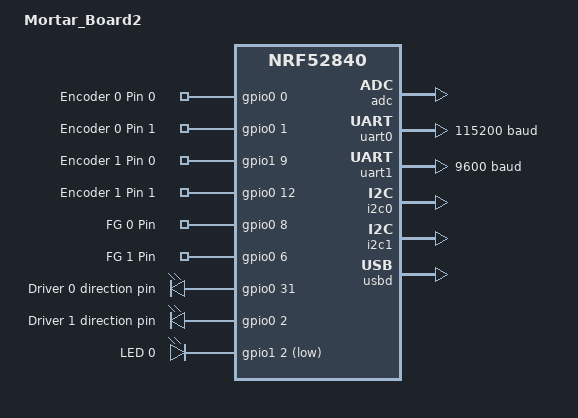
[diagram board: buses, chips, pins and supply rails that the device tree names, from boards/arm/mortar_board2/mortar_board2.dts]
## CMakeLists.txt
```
# SPDX-License-Identifier: Apache-2.0
# Copyright (c) 2022 Adrian Przekwas <adrian.v.przekwas@gmail.com>

cmake_minimum_required(VERSION 3.13.1)
find_package(Zephyr REQUIRED HINTS $ENV{ZEPHYR_BASE})
project(bldcmortar-drive)

target_sources(app PRIVATE
  src/main.c
  src/ble_comm.c
  src/usb_comm.c
  src/bldc_driver.c
  src/encoder_reader.c
  src/command_decoder.c
  src/settings.c
  src/gps.c
)
```

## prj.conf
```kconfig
CONFIG_GPIO=y

# Enable the I2C driver
CONFIG_I2C=y

# Incresed stack due to settings API usage
CONFIG_SYSTEM_WORKQUEUE_STACK_SIZE=2048

# Avoid BT RX stack overflow
CONFIG_BT_RX_STACK_SIZE=2048

# Maximum of queued outgoing packets
CONFIG_BT_BUF_ACL_TX_COUNT=7

CONFIG_BT=y
CONFIG_BT_DEBUG_LOG=y
# Security manager protocol support for pairing
CONFIG_BT_SMP=y
# used to sign authenticated data
CONFIG_BT_SIGNING=y
# select peripheral role
CONFIG_BT_PERIPHERAL=y
# enable GATT device information service
CONFIG_BT_DIS=n
# number of buffers available for GATT writing
CONFIG_BT_ATT_PREPARE_COUNT=5
# enables local privacy feature support ?
CONFIG_BT_PRIVACY=y
# name that appears when browsing
CONFIG_BT_DEVICE_NAME="Mortar drive"
# https://specificationrefs.bluetooth.com/assigned-values/Appearance%20Values.pdf
# 0x4c0 = generic control device = 1216
CONFIG_BT_DEVICE_APPEARANCE=1216
# disable updating of device name to prevent use of generic name
# enable run-time changing of device name
CONFIG_BT_DEVICE_NAME_DYNAMIC=y
CONFIG_BT_DEVICE_NAME_MAX=65

# n: allow sending notification messages without having notifications enabled
CONFIG_BT_GATT_ENFORCE_SUBSCRIPTION=n  #TODO fix on server side

# When 32k XTAL is unavailable
CONFIG_CLOCK_CONTROL_NRF_K32SRC_RC=y
CONFIG_CLOCK_CONTROL_NRF_K32SRC_XTAL=n
CONFIG_CLOCK_CONTROL_NRF_K32SRC_250PPM=y

# USB CDC
# CONFIG_USB_DEVICE_STACK=y
# CONFIG_USB_DEVICE_PRODUCT="Mortar Drive"
# CONFIG_UART_LINE_CTRL=y

# enable console
CONFIG_CONSOLE=y
CONFIG_UART_CONSOLE=y

# NVS storage
CONFIG_FLASH=y
CONFIG_FLASH_PAGE_LAYOUT=y
CONFIG_FLASH_MAP=y
CONFIG_NVS=y

# GPS UART
CONFIG_UART_INTERRUPT_DRIVEN=y
```

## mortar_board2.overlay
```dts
// To get started, press Ctrl+Space to bring up the completion menu and view the available nodes.

// You can also use the buttons in the sidebar to perform actions on nodes.
// Actions currently available include:

// * Enabling / disabling the node
// * Adding the bus to a bus
// * Removing the node
// * Connecting ADC channels

// For more help, browse the DeviceTree documentation at https://docs.zephyrproject.org/latest/guides/dts/index.html
// You can also visit the nRF DeviceTree extension documentation at https://nrfconnect.github.io/vscode-nrf-connect/devicetree/nrfdevicetree.html

//Remove block comment below to use USB for UART instead of GPIO pin
/*
/{
	chosen {
		zephyr,console = &cdc_acm_uart0;
	};
};

&zephyr_udc0 {
	cdc_acm_uart0: cdc_acm_uart0 {
		compatible = "zephyr,cdc-acm-uart";
		label = "CDC_ACM_0";
	};
};
*/
```

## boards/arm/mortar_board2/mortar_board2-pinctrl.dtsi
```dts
&pinctrl {
	uart0_default: uart0_default {
		group1 {
			psels = <NRF_PSEL(UART_TX, 1, 4)>;
		};
	};

	uart0_sleep: uart0_sleep {
		group1 {
			psels = <NRF_PSEL(UART_TX, 1, 4)>;
            low-power-enable;
		};
	};

	uart1_default: uart1_default {
        group1 {
            psels = <NRF_PSEL(UART_TX, 0, 24)>;
        };
        group2 {
            psels = <NRF_PSEL(UART_RX, 1, 0)>;
            bias-pull-up;
        };
	};

	uart1_sleep: uart1_sleep {
        group1 {
            psels = <NRF_PSEL(UART_TX, 0, 24)>,
            <NRF_PSEL(UART_RX, 1, 0)>;
            low-power-enable;
        };
	};

	i2c0_default: i2c0_default {
		group1 {
			psels = <NRF_PSEL(TWIM_SDA, 0, 20)>,
				<NRF_PSEL(TWIM_SCL, 0, 22)>;
		};
	};

	i2c0_sleep: i2c0_sleep {
		group1 {
			psels = <NRF_PSEL(TWIM_SDA, 0, 20)>,
				<NRF_PSEL(TWIM_SCL, 0, 22)>;
			low-power-enable;
		};
	};

	i2c1_default: i2c1_default {
		group1 {
			psels = <NRF_PSEL(TWIM_SDA, 0, 13)>,
				<NRF_PSEL(TWIM_SCL, 0, 15)>;
		};
	};

	i2c1_sleep: i2c1_sleep {
		group1 {
			psels = <NRF_PSEL(TWIM_SDA, 0, 13)>,
				<NRF_PSEL(TWIM_SCL, 0, 15)>;
			low-power-enable;
		};
	};
    spi0_default: spi0_default {
		group1 {
			psels = <NRF_PSEL(SPIM_SCK, 0, 27)>,
				<NRF_PSEL(SPIM_MOSI, 0, 26)>,
				<NRF_PSEL(SPIM_MISO, 0, 29)>;
		};
	};

	spi0_sleep: spi0_sleep {
		group1 {
			psels = <NRF_PSEL(SPIM_SCK, 0, 27)>,
				<NRF_PSEL(SPIM_MOSI, 0, 26)>,
				<NRF_PSEL(SPIM_MISO, 0, 29)>;
			low-power-enable;
		};
	};

	spi1_default: spi1_default {
		group1 {
			psels = <NRF_PSEL(SPIM_SCK, 0, 31)>,
				<NRF_PSEL(SPIM_MOSI, 0, 30)>,
				<NRF_PSEL(SPIM_MISO, 1, 8)>;
		};
	};

	spi1_sleep: spi1_sleep {
		group1 {
			psels = <NRF_PSEL(SPIM_SCK, 0, 31)>,
				<NRF_PSEL(SPIM_MOSI, 0, 30)>,
				<NRF_PSEL(SPIM_MISO, 1, 8)>;
			low-power-enable;
		};
	};

	spi2_default: spi2_default {
		group1 {
			psels = <NRF_PSEL(SPIM_SCK, 0, 19)>,
				<NRF_PSEL(SPIM_MOSI, 0, 20)>,
				<NRF_PSEL(SPIM_MISO, 0, 21)>;
		};
	};

	spi2_sleep: spi2_sleep {
		group1 {
			psels = <NRF_PSEL(SPIM_SCK, 0, 19)>,
				<NRF_PSEL(SPIM_MOSI, 0, 20)>,
				<NRF_PSEL(SPIM_MISO, 0, 21)>;
			low-power-enable;
		};
	};

};
```

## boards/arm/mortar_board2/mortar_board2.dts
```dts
// Copyright (c) 2022 Nordic Semiconductor ASA
// SPDX-License-Identifier: Apache-2.0

/dts-v1/;
#include <nordic/nrf52840_qiaa.dtsi>
#include "mortar_board2-pinctrl.dtsi"

/ {
	model = "Mortar_Board2";
	compatible = "nordic,mortar_board2";

	chosen {
		zephyr,console = &uart0;
		zephyr,shell-uart = &uart0;
		zephyr,uart-mcumgr = &uart0;
		zephyr,bt-mon-uart = &uart0;
		zephyr,bt-c2h-uart = &uart0;
		zephyr,sram = &sram0;
		zephyr,flash = &flash0;
		zephyr,code-partition = &slot0_partition;
	};
	drvinp {
		compatible = "gpio-keys";
		enc0p0: enc0pin0{
			gpios = <&gpio0 0 (GPIO_ACTIVE_HIGH)>;
			label = "Encoder 0 Pin 0";
		};
		enc0p1: enc0pin1{
			gpios = <&gpio0 1 (GPIO_ACTIVE_HIGH)>;
			label = "Encoder 0 Pin 1";
		};
		enc1p0: enc1pin0{
			gpios = <&gpio1 9 (GPIO_ACTIVE_HIGH)>;
			label = "Encoder 1 Pin 0";
		};
		enc1p1: enc1pin1{
			gpios = <&gpio0 12 (GPIO_ACTIVE_HIGH)>;
			label = "Encoder 1 Pin 1";
		};
		fg0p: fg0pin{
			gpios = <&gpio0 8 (GPIO_ACTIVE_HIGH | GPIO_PULL_UP)>; //DRV FG pin is open drain
			label = "FG 0 Pin";
		};
		fg1p: fg1pin{
			gpios = <&gpio0 6 (GPIO_ACTIVE_HIGH | GPIO_PULL_UP)>;
			label = "FG 1 Pin";
		};
	};

	drvout{
		compatible = "gpio-leds";
		dir0: dir_0{
			gpios = <&gpio0 31 GPIO_ACTIVE_HIGH>;
			label = "Driver 0 direction pin";
		};
		dir1: dir_1{
			gpios = <&gpio0 2 GPIO_ACTIVE_HIGH>;
			label = "Driver 1 direction pin";
		};

	};
	leds {
		compatible = "gpio-leds";
		led0: led_0 {
			gpios = <&gpio1 2 GPIO_ACTIVE_LOW>;
			label = "LED 0";
		};
	};
	aliases {
		dir0 = &dir0;
		dir1 = &dir1;
		enc0p0 = &enc0p0;
		enc0p1 = &enc0p1;
		enc1p0 = &enc1p0;
		enc1p1 = &enc1p1;
		fg0p = &fg0p;
		fg1p = &fg1p;
		led0 = &led0;
	};
};

&flash0 {
	partitions {
		compatible = "fixed-partitions";
		#address-cells = <1>;
		#size-cells = <1>;

		boot_partition: partition@0 {
			label = "mcuboot";
			reg = <0x0 0xc000>;
		};
		slot0_partition: partition@c000 {
			label = "image-0";
			reg = <0xc000 0x72000>;
		};
		slot1_partition: partition@7e000 {
			label = "image-1";
			reg = <0x7e000 0x72000>;
		};
		scratch_partition: partition@f0000 {
			label = "image-scratch";
			reg = <0xf0000 0xa000>;
		};
		storage_partition: partition@fa000 {
			label = "storage";
			reg = <0xfa000 0x6000>;
		};
	};
};

&adc {
	status = "okay";
};

&gpiote {
	status = "okay";
};

&gpio0 {
	status = "okay";
};

&gpio1 {
	status = "okay";
};

&uart0 {
	compatible = "nordic,nrf-uarte";
	status = "okay";
	current-speed = <115200>;
	pinctrl-0 = <&uart0_default>;
	pinctrl-1 = <&uart0_sleep>;
	pinctrl-names = "default", "sleep";

};

&uart1 {
	status = "okay";
	current-speed = <9600>;
	pinctrl-0 = <&uart1_default>;
	pinctrl-1 = <&uart1_sleep>;
	pinctrl-names = "default", "sleep";
};

&i2c0 {
	compatible = "nordic,nrf-twi";
	status = "okay";
	pinctrl-0 = <&i2c0_default>;
	pinctrl-1 = <&i2c0_sleep>;
	pinctrl-names = "default", "sleep";
};

&i2c1 {
	compatible = "nordic,nrf-twi";
	status = "okay";
	pinctrl-0 = <&i2c1_default>;
	pinctrl-1 = <&i2c1_sleep>;
	pinctrl-names = "default", "sleep";
};
&spi0 {
	compatible = "nordic,nrf-spi";
	/* Cannot be used together with i2c0. */
	status = "disabled";
	pinctrl-0 = <&spi0_default>;
	pinctrl-1 = <&spi0_sleep>;
	pinctrl-names = "default", "sleep";
};

&spi1 {
	compatible = "nordic,nrf-spi";
	status = "disabled";
	pinctrl-0 = <&spi1_default>;
	pinctrl-1 = <&spi1_sleep>;
	pinctrl-names = "default", "sleep";
};

&spi2 {
	compatible = "nordic,nrf-spi";
	status = "disabled";
	pinctrl-0 = <&spi2_default>;
	pinctrl-1 = <&spi2_sleep>;
	pinctrl-names = "default", "sleep";
};

zephyr_udc0: &usbd {
	compatible = "nordic,nrf-usbd";
	status = "okay";
};
```

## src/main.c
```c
/* SPDX-License-Identifier: Apache-2.0                              *
 * Copyright (c) 2022 Adrian Przekwas <adrian.v.przekwas@gmail.com> */

#include <zephyr/types.h>
#include <stddef.h>
#include <string.h>
#include <errno.h>
#include <zephyr/sys/printk.h>
#include <zephyr/sys/byteorder.h>
#include <zephyr/kernel.h>

#include <zephyr/settings/settings.h>

#include "ble_comm.h"
#include "encoder_reader.h"
#include "bldc_driver.h"
#include "usb_comm.h"
#include "command_decoder.h"
#include "settings.h"
#include "gps.h"

#define MAIN_SLEEP_TIME_MS  100
#define MSG_SLEEP_TIME_MS  20
#define LOOP_DIVIDER 100

void main(void)
{
	initialise_usb_cdc();
	initialise_ble();
	initialise_encoder();
	initialise_gpio();
	initialise_i2c();
	initialise_settings();
	initialise_gps();

	int64_t old_enc0_count = 0;
	int64_t enc0_count = 0;
	int64_t old_enc1_count = 0;
	int64_t enc1_count = 0;
	int64_t old_fg0_count = 0;
	int64_t fg0_count = 0;
	int64_t old_fg1_count = 0;
	int64_t fg1_count = 0;

	extern int driver_verbosity;

	int cnt = 0;

	/*load regs from flash*/
	for (int id = 0; id < 2; ++id)
	{
		read_drive_settings(id, 1);
	}
	while (1) 
	{
		k_msleep(MAIN_SLEEP_TIME_MS);
		int msg_count;
		msg_count = send_command_ble_data();
		while (msg_count > 0)
		{
			k_msleep(MSG_SLEEP_TIME_MS);
			msg_count = send_command_ble_data(); //send command waiting in queue
		}
		get_enc0_val(&enc0_count);
		get_enc1_val(&enc1_count);
		get_fg0_val(&fg0_count);
		get_fg1_val(&fg1_count);
		for (int id = 0; id < 2; ++id)
		{
			probe_motor_lock(id);
		}

		if (enc0_count != old_enc0_count)
		{
			if (driver_verbosity > 2) {printk("Encoder 0 steps count  %" PRId64 "\n", enc0_count);}
			set_enc0_val(&enc0_count); //read encoder value and send to ble
			send_enc0_ble_data(); //send notification
		}
		old_enc0_count = enc0_count;

		if (enc1_count != old_enc1_count)
		{
			if (driver_verbosity > 2) {printk("Encoder 1 steps count  %" PRId64 "\n", enc1_count);}
			set_enc1_val(&enc1_count);
			send_enc1_ble_data(); //send notification
		}
		old_enc1_count = enc1_count;

		if (fg0_count != old_fg0_count)
		{
			if (driver_verbosity > 2) {printk("FG0 count  %" PRId64 "\n", fg0_count);}
			encode_fg_value(fg0_count, 0);
		}
		old_fg0_count = fg0_count;

		if (fg1_count != old_fg1_count)
		{
			if (driver_verbosity > 2) {printk("FG1 count  %" PRId64 "\n", fg1_count);}
			encode_fg_value(fg1_count, 1);
		}
		old_fg1_count = fg1_count;

		cnt++;
		if (cnt > LOOP_DIVIDER)
		{
			send_date_time();
			send_position();
			for (int id = 0; id < 2; ++id)
			{
				check_status_reg(id);
				uint8_t speed1 = 0;
				uint8_t speed2 = 0;
				read_motor_speed(id, &speed1, &speed2);
				encode_motor_speed(speed1, speed2, id);

			}
			cnt = 0;
		}
	}	
}
```

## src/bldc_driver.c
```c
/* SPDX-License-Identifier: Apache-2.0                              *
 * Copyright (c) 2022 Adrian Przekwas <adrian.v.przekwas@gmail.com> */

#include <zephyr/kernel.h>
#include <zephyr/device.h>
#include <zephyr/devicetree.h>
#include <zephyr/drivers/gpio.h>

#include <zephyr/drivers/i2c.h>

#include <zephyr/sys/printk.h>

#include "bldc_driver.h"
#include "ble_comm.h"
#include "command_decoder.h"

#define I2C0_NODE DT_NODELABEL(i2c0)
#if DT_NODE_HAS_STATUS(I2C0_NODE, okay)
#define I2C0	DT_LABEL(I2C0_NODE)
#else
/* A build error here means your board does not have I2C enabled. */
#error "i2c0 devicetree node is disabled"
#define I2C0	""
#endif

#define I2C1_NODE DT_NODELABEL(i2c1)
#if DT_NODE_HAS_STATUS(I2C1_NODE, okay)
#define I2C1	DT_LABEL(I2C1_NODE)
#else
#error "i2c1 devicetree node is disabled"
#define I2C1	""
#endif

#define DIR0_NODE    DT_ALIAS(dir0)
#if DT_NODE_HAS_STATUS(DIR0_NODE, okay)
#define DIR0_GPIO_LABEL  DT_GPIO_LABEL(DIR0_NODE, gpios)
#define DIR0_GPIO_PIN    DT_GPIO_PIN(DIR0_NODE, gpios)
#define DIR0_GPIO_FLAGS  DT_GPIO_FLAGS(DIR0_NODE, gpios)
#else
#error "Unsupported board: dir0 devicetree alias is not defined"
#define DIR0_GPIO_LABEL  ""
#define DIR0_GPIO_PIN    0
#define DIR0_GPIO_FLAGS  0
#endif

#define DIR1_NODE    DT_ALIAS(dir1)
#if DT_NODE_HAS_STATUS(DIR1_NODE, okay)
#define DIR1_GPIO_LABEL  DT_GPIO_LABEL(DIR1_NODE, gpios)
#define DIR1_GPIO_PIN    DT_GPIO_PIN(DIR1_NODE, gpios)
#define DIR1_GPIO_FLAGS  DT_GPIO_FLAGS(DIR1_NODE, gpios)
#else
#error "Unsupported board: dir1 devicetree alias is not defined"
#define DIR1_GPIO_LABEL  ""
#define DIR1_GPIO_PIN    0
#define DIR1_GPIO_FLAGS  0
#endif

#define DRV10983_ADDRESS 0x52 //DRV 10983 adress
#define SPEEDCTRL1 0x00
#define SPEEDCTRL2 0x01
#define MOTORSPEED1 0x11
#define MOTORSPEED2 0x12
#define MOTORPARAM1 0x20
#define MOTORPARAM2 0x21
#define DEF_MPR 0x5D //motor phase resistance
#define DEF_BEMF 0x2E //BEMF constant

const struct device *dev_i2c0;
const struct device *dev_i2c1;

static const struct gpio_dt_spec dirpin0 = GPIO_DT_SPEC_GET(DIR0_NODE, gpios);
static const struct gpio_dt_spec dirpin1 = GPIO_DT_SPEC_GET(DIR1_NODE, gpios);

int driver_verbosity = 2;

int initialise_gpio(void)
{
	int ret;
	ret = gpio_pin_configure_dt(&dirpin0, GPIO_OUTPUT_ACTIVE);
	if (ret < 0) {
		return ret;
	}
	ret = gpio_pin_configure_dt(&dirpin1, GPIO_OUTPUT_ACTIVE);
	if (ret < 0) {
		return ret;
	}

	return 0;
	
}
int initialise_i2c(void)
{

	/* Get the binding of the I2C driver  */
	dev_i2c0 = DEVICE_DT_GET(I2C0_NODE);
	if (dev_i2c0 == NULL) {
	printk("Could not find  I2C0!\n\r");
	return -1;
	}

    dev_i2c1 = DEVICE_DT_GET(I2C1_NODE);
	if (dev_i2c1 == NULL) {
	printk("Could not find  I2C1!\n\r");
	return -1;
	}
	uint8_t speed_ctrl2 = 0x80; //bit [7]
	uint8_t speed_ctrl1 = 0x00;
	for (uint8_t id = 0; id < 2; ++id)
	{
		conf_reg_write_unlock(id);
		write_reg(MOTORPARAM1, DEF_MPR, id);
		conf_reg_write_unlock(id);
		write_reg(MOTORPARAM2, DEF_BEMF, id);
		write_reg(SPEEDCTRL2, speed_ctrl2, id);
		write_reg(SPEEDCTRL1, speed_ctrl1, id);
	}
	return 0;
}
int set_motor_speed_dir(const uint16_t speed, const uint8_t dir, const uint8_t id)
{
	uint8_t speed_ctrl1 = speed & 0xFF; //bits [7:0]
	uint8_t speed_ctrl2 = (speed >> 8) | 0x80; //bit [7] override and bit [0] ([8] of SPEEDCTRL2, SPEEDCTRL1 registry pair)

	int ret;
	if (id == 0){ //first motor
		ret = gpio_pin_set_dt(&dirpin0, dir); //set direction pin
		if (ret < 0) {
			return ret;
		}
	}
	if (id == 1){ //second motor
		ret = gpio_pin_set_dt(&dirpin1, dir);
		if (ret < 0) {
			return ret;
		}
	}

	write_reg(SPEEDCTRL2, speed_ctrl2, id); //SpeedCtrl2 has to be written before SpeedCtrl1
	write_reg(SPEEDCTRL1, speed_ctrl1, id);

	return 0;
}
int write_reg(const uint8_t addr, const uint8_t val, const uint8_t id)
{
	int ret = 0;
	uint8_t reg[2] = {addr, val};
	if (driver_verbosity > 1) {printk("Writing I2C device at adress %x registry %x value %x\n", DRV10983_ADDRESS, reg[0], reg[1]);};
	if (id == 0){ //first motor
		ret = i2c_write(dev_i2c0, reg, sizeof(reg), DRV10983_ADDRESS);
	}
	if (id == 1){ //second motor
		ret = i2c_write(dev_i2c1, reg, sizeof(reg), DRV10983_ADDRESS);
	}
	if(ret != 0){
		printk("Failed to write to I2C device address %x at Reg. %x \n", DRV10983_ADDRESS, reg[0]);
		return ret;
	}
	return 0;
}

int read_reg(const uint8_t reg_addr, const uint8_t id, uint8_t *reg_value_ptr)
{
	int ret = 0;
	uint8_t registry[2];
	registry[0] = reg_addr;
	registry[1] = 0;
	if (driver_verbosity > 3) {printk("Reading I2C device at adress %x registry %x\n", DRV10983_ADDRESS, reg_addr);};
	if (id == 0){ //first motor
		i2c_write_read(dev_i2c0, DRV10983_ADDRESS, &registry[0], 1, &registry[1], 1);
		//i2c_write_read(dev_i2c,ADXL345_I2C_ADDRESS,&data_format[0],1,&data_format[1],1);
		if(ret != 0){
			printk("Failed to write/read I2C device address %x at Reg. %x \n", DRV10983_ADDRESS, reg_addr);
			return ret;
		}
	}
	if (id == 1){ //first motor
		i2c_write_read(dev_i2c1, DRV10983_ADDRESS, &registry[0], 1, &registry[1], 1);
		if(ret != 0){
			printk("Failed to write/read I2C device address %x at Reg. %x \n", DRV10983_ADDRESS, reg_addr);
			return ret;
		}
	}
	*reg_value_ptr = registry[1];
	if (driver_verbosity > 3) {printk("Registry %x value %x\n", reg_addr, *reg_value_ptr);};
	return 0;
	/*static inline int i2c_write_read(const struct device *dev, uint16_t addr, const void *write_buf, size_t num_write, void *read_buf, size_t num_read)
	dev – Pointer to the device structure for an I2C controller driver configured in controller mode.
	addr – Address of the I2C device
	write_buf – Pointer to the data to be written
	num_write – Number of bytes to write
	read_buf – Pointer to storage for read data
	num_read – Number of bytes to read*/
}

int conf_reg_write_unlock(const uint8_t id)
{
	uint8_t sidata_addr = 0x03;
	uint8_t sidata_val = 0x40;
	int ret = 0;
	if (driver_verbosity > 1) {printk("Unlocking configuration register\n");};
	ret = write_reg(sidata_addr, sidata_val, id);
	return ret;
}

uint8_t was_locked[2] = {0, 0}; //store info about locked moteor until user reset

void probe_motor_lock(const uint8_t drive_id)
{
	uint8_t status_addr = 0x10;
    uint8_t status_val = 0;
	read_reg(status_addr, drive_id, &status_val);
	uint8_t is_locked = ((status_val & 0b00010000) >> 4);
	if ((was_locked[drive_id] == 0) && (is_locked > 0)){ //read only once, wait for user reset
		printk("Driver id = %u, LOCKED,\n", drive_id);
		//check_status_reg(drive_id);
		check_fault_reg(drive_id);	
	}
	if (is_locked)
		was_locked[drive_id] = 1;
}

void reset_motor_lock_flag_and_info(const uint8_t drive_id)
{
	was_locked[drive_id] = 0;
	check_fault_reg(drive_id);
}

void check_status_reg(const uint8_t drive_id)
{
    uint8_t status_addr = 0x10;
    uint8_t status_val = 0;
	read_reg(status_addr, drive_id, &status_val);
	encode_send_reg (status_addr, status_val, drive_id);
	if (driver_verbosity > 0)
	{
		if ((status_val & 0b10000000) == 0b10000000)
			printk("Driver id = %u, Over Temperature,\n", drive_id);
		if ((status_val & 0b01000000) == 0b01000000)
			printk("Driver id = %u, Sleep/Standby,\n", drive_id);
		if ((status_val & 0b00100000) == 0b00100000)
			printk("Driver id = %u, Over Current,\n", drive_id);
		if ((status_val & 0b00010000) == 0b00010000)
			printk("Driver id = %u, Motor Locked,\n", drive_id);
	}
 }

void check_fault_reg(const uint8_t drive_id)
 {
    uint8_t fault_addr = 0x1E;
    uint8_t fault_val = 0;

	read_reg(fault_addr, drive_id, &fault_val);
	encode_send_reg (fault_addr, fault_val, drive_id);
	if (driver_verbosity > 0)
	{
		if ((fault_addr & 0b00100000) == 0b00100000)
			printk("Driver id = %u, Stuck in closed loop,\n", drive_id);
		if ((fault_addr & 0b00010000) == 0b00010000)
			printk("Driver id = %u, Stuck in open loop,\n", drive_id);
		if ((fault_addr & 0b00010000) == 0b00010000)
			printk("Driver id = %u, No motor,\n", drive_id);
		if ((fault_addr & 0b00000100) == 0b00000100)
			printk("Driver id = %u, Kt abnormal,\n", drive_id);
		if ((fault_addr & 0b00000010) == 0b00000010)
			printk("Driver id = %u, Speed abnormal,\n", drive_id);
		if ((fault_addr & 0b00000001) == 0b00000001)
			printk("Driver id = %u, Lock detection current limit,\n", drive_id);
	}
	
 }

 void read_motor_speed(const uint8_t drive_id, uint8_t *speed1_val_ptr, uint8_t *speed2_val_ptr)
 {
	read_reg(MOTORSPEED1, drive_id, speed1_val_ptr); //MotorSpeed1 have to bead first
	read_reg(MOTORSPEED2, drive_id, speed2_val_ptr);
	uint16_t speed = (uint16_t)*speed1_val_ptr << 8 | *speed2_val_ptr;
	if (driver_verbosity > 1)
	{
		printk("Motor id = %u, Speed = %u,\n", drive_id, speed);
	}
	
 }

void set_uart_driver_verbosity(const int level)
 {
	driver_verbosity = level;
 }

void read_and_send_all_regs(const uint8_t drive_id)
 {
	for (uint8_t reg_addr = 0; reg_addr <= 0x2B; reg_addr++) //registry 0x00-0x2B
	{   
		uint8_t reg_val;
		read_reg(reg_addr, drive_id, &reg_val); 
		encode_send_reg(reg_addr, reg_val, drive_id); //send via bluetooth
		printk("Drive: %d, Registry: %x, Value: %x\n", drive_id, reg_addr, reg_val);
	}
 }
```

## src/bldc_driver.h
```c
/* SPDX-License-Identifier: Apache-2.0                              *
 * Copyright (c) 2022 Adrian Przekwas <adrian.v.przekwas@gmail.com> */

#ifndef BLDC_DRIVER_H
#define BLDC_DRIVER_H

int initialise_gpio(void);
int initialise_i2c(void);
int set_motor_speed_dir(const uint16_t speed, const uint8_t dir, const uint8_t id);
int write_reg(const uint8_t addr, const uint8_t val, const uint8_t id);
int read_reg(const uint8_t reg_addr, const uint8_t id, uint8_t *reg_value_ptr);
int conf_reg_write_unlock(const uint8_t id);
void check_status_reg(const uint8_t drive_id);
void check_fault_reg(const uint8_t drive_id);
void read_motor_speed(const uint8_t drive_id, uint8_t *speed1_val_ptr, uint8_t *speed2_val_ptr);
void set_uart_driver_verbosity(const int level);
void read_and_send_all_regs(const uint8_t drive_id);
void probe_motor_lock(const uint8_t drive_id);
void reset_motor_lock_flag_and_info(const uint8_t drive_id);

#endif
```

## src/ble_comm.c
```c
/* SPDX-License-Identifier: Apache-2.0                              *
 * Copyright (c) 2022 Adrian Przekwas <adrian.v.przekwas@gmail.com> *
 * Based on an example by, modified by Frank Duignan                *
 * SPDX-License-Identifier: Apache-2.0                              */

#include <zephyr/types.h>
#include <stddef.h>
#include <string.h>
#include <errno.h>
#include <zephyr/sys/printk.h>
#include <zephyr/sys/byteorder.h>
#include <zephyr/kernel.h>

#include <zephyr/settings/settings.h>

#include <zephyr/bluetooth/bluetooth.h>
#include <zephyr/bluetooth/hci.h>
#include <zephyr/bluetooth/conn.h>
#include <zephyr/bluetooth/uuid.h>
#include <zephyr/bluetooth/gatt.h>
#include <zephyr/device.h>
#include <zephyr/drivers/sensor.h>
#include <stdio.h>

#include "ble_comm.h"
#include "command_decoder.h"

#define MSG_SIZE 8 //for outgoing command buffer
K_MSGQ_DEFINE(command_msgq, MSG_SIZE, 100, 8);

#define BT_UUID_CUSTOM_SERVICE_VAL BT_UUID_128_ENCODE(0x6d84a3d2, 0x9a17, 0x49bc, 0x92f7, 0x3bcc72de2137)
static struct bt_uuid_128 my_service_uuid = BT_UUID_INIT_128( BT_UUID_CUSTOM_SERVICE_VAL);
static struct bt_uuid_128 char_id_command=BT_UUID_INIT_128(BT_UUID_128_ENCODE(0x6d84a3d2, 0x9a17, 0x49bc, 0x92f7, 0x3bcc72de2138)); // the 128 bit UUID for this gatt value
static struct bt_uuid_128 char_id_enc0=BT_UUID_INIT_128(BT_UUID_128_ENCODE(0x6d84a3d2, 0x9a17, 0x49bc, 0x92f7, 0x3bcc72de2139));
static struct bt_uuid_128 char_id_enc1=BT_UUID_INIT_128(BT_UUID_128_ENCODE(0x6d84a3d2, 0x9a17, 0x49bc, 0x92f7, 0x3bcc72de2140));

int64_t enc0_val; //the gatt characteristic value that is being shared over BLE
int64_t enc1_val;
uint64_t command_val; ///gatt characteristic for receiving/sending commands
static ssize_t read_char_enc0(struct bt_conn *conn, const struct bt_gatt_attr *attr, void *buf, uint16_t len, uint16_t offset);
static ssize_t write_char_enc0(struct bt_conn *conn, const struct bt_gatt_attr *attr, const void *buf, uint16_t len, uint16_t offset, uint8_t flags);

static ssize_t read_char_enc1(struct bt_conn *conn, const struct bt_gatt_attr *attr, void *buf, uint16_t len, uint16_t offset);
static ssize_t write_char_enc1(struct bt_conn *conn, const struct bt_gatt_attr *attr, const void *buf, uint16_t len, uint16_t offset, uint8_t flags);

static ssize_t read_char_command(struct bt_conn *conn, const struct bt_gatt_attr *attr, void *buf, uint16_t len, uint16_t offset);
static ssize_t write_char_command(struct bt_conn *conn, const struct bt_gatt_attr *attr, const void *buf, uint16_t len, uint16_t offset, uint8_t flags);


/* The bt_data structure type:
 * {
 * 	uint8_t type : The kind of data encoded in the following structure
 * 	uint8_t data_len : the length of the data encoded
 * 	const uint8_t *data : a pointer to the data
 * }
 * This is used for encoding advertising data
*/
/* The BT_DATA_BYTES macro
 * #define BT_DATA_BYTES(_type, _bytes...) BT_DATA(_type, ((uint8_t []) { _bytes }), sizeof((uint8_t []) { _bytes }))
 * #define BT_DATA(_type, _data, _data_len) \
 *       { \
 *               .type = (_type), \
 *               .data_len = (_data_len), \
 *               .data = (const uint8_t *)(_data), \
 *       }
 * BT_DATA_UUID16_ALL : value indicates that all UUID's are listed in the advertising packet
*/
// bt_data is an array of data structures used in advertising. Each data structure is formatted as described above
static const struct bt_data ad[] = {
	BT_DATA_BYTES(BT_DATA_FLAGS, (BT_LE_AD_GENERAL | BT_LE_AD_NO_BREDR)), /* specify BLE advertising flags = discoverable, BR/EDR not supported (BLE only) */
	BT_DATA_BYTES(BT_DATA_UUID128_ALL, BT_UUID_CUSTOM_SERVICE_VAL /* A 128 Service UUID for the our custom service follows */),
};
	
/*
 * #define BT_GATT_CHARACTERISTIC(_uuid, _props, _perm, _read, _write, _value) 
 * 
 */
BT_GATT_SERVICE_DEFINE(my_service_svc,
	BT_GATT_PRIMARY_SERVICE(&my_service_uuid),
		BT_GATT_CHARACTERISTIC(&char_id_command.uuid,		
		BT_GATT_CHRC_READ | BT_GATT_CHRC_WRITE | BT_GATT_CHRC_NOTIFY,
		BT_GATT_PERM_READ | BT_GATT_PERM_WRITE,
		read_char_command, write_char_command, &command_val),
		BT_GATT_CHARACTERISTIC(&char_id_enc0.uuid,		
		BT_GATT_CHRC_READ | BT_GATT_CHRC_WRITE | BT_GATT_CHRC_NOTIFY,
		BT_GATT_PERM_READ | BT_GATT_PERM_WRITE,
		read_char_enc0, write_char_enc0, &enc0_val),
		BT_GATT_CHARACTERISTIC(&char_id_enc1.uuid,		
		BT_GATT_CHRC_READ | BT_GATT_CHRC_WRITE | BT_GATT_CHRC_NOTIFY,
		BT_GATT_PERM_READ | BT_GATT_PERM_WRITE,
		read_char_enc1, write_char_enc1, &enc1_val),
);


struct bt_conn *active_conn=NULL; // use this to maintain a reference to the connection with the central device (if any)


// Callback that is activated when the characteristic is read by central (ENCODER)
static ssize_t read_char_enc0(struct bt_conn *conn, const struct bt_gatt_attr *attr, void *buf, uint16_t len, uint16_t offset)
{
	// printk("Got a read %p\n",attr);
	// Could use 'const char *value =  attr->user_data' also here if there is the char value is being maintained with the BLE STACK
	const char *value = (const char *)&enc0_val; // point at the value in memory
	return bt_gatt_attr_read(conn, attr, buf, len, offset, value, sizeof(enc0_val)); // pass the value back up through the BLE stack
}
static ssize_t read_char_enc1(struct bt_conn *conn, const struct bt_gatt_attr *attr, void *buf, uint16_t len, uint16_t offset)
{
	const char *value = (const char *)&enc1_val;
	return bt_gatt_attr_read(conn, attr, buf, len, offset, value, sizeof(enc1_val));
}
// Callback that is activated when the characteristic is written by central
static ssize_t write_char_enc0(struct bt_conn *conn, const struct bt_gatt_attr *attr,
			 const void *buf, uint16_t len, uint16_t offset,
			 uint8_t flags)
{
	uint8_t *value = attr->user_data;
	printk("Got a write\n");
	memcpy(value, buf, len); // copy the incoming value in the memory occupied by our characateristic variable
	return len;
}
static ssize_t write_char_enc1(struct bt_conn *conn, const struct bt_gatt_attr *attr,
			 const void *buf, uint16_t len, uint16_t offset,
			 uint8_t flags)
{
	uint8_t *value = attr->user_data;
	printk("Got a write\n");
	memcpy(value, buf, len); // copy the incoming value in the memory occupied by our characateristic variable
	return len;
}


// Callback that is activated when the characteristic is read by central(COMMAND)
static ssize_t read_char_command(struct bt_conn *conn, const struct bt_gatt_attr *attr, void *buf, uint16_t len, uint16_t offset)
{
	printk("Got a read %p\n",attr);
	// Could use 'const char *value =  attr->user_data' also here if there is the char value is being maintained with the BLE STACK
	const char *value = (const char *)&command_val; // point at the value in memory
	return bt_gatt_attr_read(conn, attr, buf, len, offset, value, sizeof(command_val)); // pass the value back up through the BLE stack
}
// Callback that is activated when the characteristic is written by central
static ssize_t write_char_command(struct bt_conn *conn, const struct bt_gatt_attr *attr,
			 const void *buf, uint16_t len, uint16_t offset,
			 uint8_t flags)
{
	uint8_t *value = attr->user_data;
	memcpy(value, buf, len); // copy the incoming value in the memory occupied by our characateristic variable
	if (len == 8){
		uint64_t command;
		uint64_t *comm;
		comm = &command;
		memcpy(comm, buf, len);
		decode_and_run (comm);
	}
	return len;
}

// Callback that is activated when a connection with a central device is established
static void connected(struct bt_conn *conn, uint8_t err)
{
	if (err) {
		printk("Connection failed (err 0x%02x)\n", err);
	} else {
		printk("Connected\n");
		active_conn = conn;
	}
}
// Callback that is activated when a connection with a central device is taken down
static void disconnected(struct bt_conn *conn, uint8_t reason)
{
	printk("Disconnected (reason 0x%02x)\n", reason);
	active_conn = NULL;
}
// structure used to pass connection callback handlers to the BLE stack
static struct bt_conn_cb conn_callbacks = {
	.connected = connected,
	.disconnected = disconnected,
};
// This is called when the BLE stack has finished initializing
static void bt_ready(void)
{
	int err;
	printk("Bluetooth initialized\n");

// start advertising see https://developer.nordicsemi.com/nRF_Connect_SDK/doc/latest/zephyr/reference/bluetooth/gap.html
/*
 * Excerpt from zephyr/include/bluetooth/bluetooth.h

 * #define BT_LE_ADV_CONN_NAME BT_LE_ADV_PARAM(BT_LE_ADV_OPT_CONNECTABLE | \
                                            BT_LE_ADV_OPT_USE_NAME, \
                                            BT_GAP_ADV_FAST_INT_MIN_2, \
                                            BT_GAP_ADV_FAST_INT_MAX_2, NULL)

 Also see : zephyr/include/bluetooth/gap.h for BT_GAP_ADV.... These set the advertising interval to between 100 and 150ms
 
 */
// Start BLE advertising using the ad array defined above
	err = bt_le_adv_start(BT_LE_ADV_CONN_NAME, ad, ARRAY_SIZE(ad), NULL, 0);
	if (err) {
		printk("Advertising failed to start (err %d)\n", err);
		return;
	}
	printk("Advertising successfully started\n");
}

void initialise_ble(void)
{
	int err;

	err = bt_enable(NULL);
	if (err) {
		printk("Bluetooth init failed (err %d)\n", err);
		return;
	}

	bt_ready();
	bt_conn_cb_register(&conn_callbacks);
	printk("Mortar drive %s\n", CONFIG_BOARD);	
}
void send_enc0_ble_data(void)
{   		

    //enc0_val++;
    // int bt_gatt_notify(struct bt_conn *conn, const struct bt_gatt_attr *attr, const void *data, u16_t len)
    // conn: Connection object. (NULL for all)
    // attr: Characteristic Value Descriptor attribute.
    // data: Pointer to Attribute data.
    // len: Attribute value length.				
    if (active_conn)
    {
        bt_gatt_notify(active_conn,&my_service_svc.attrs[3], &enc0_val,sizeof(enc0_val));			
    }	
}
void set_enc0_val(int64_t *val)
{
    enc0_val = *val;
}
void send_enc1_ble_data(void)
{   			
    if (active_conn)
    {
        bt_gatt_notify(active_conn,&my_service_svc.attrs[5], &enc1_val,sizeof(enc1_val));			
    }	
}
void set_enc1_val(int64_t *val)
{
    enc1_val = *val;
}

int send_command_ble_data(void)
{   		
	int msg_count = k_msgq_num_used_get(&command_msgq);
	if (msg_count)
	{		
		if (active_conn)
		{
			k_msgq_get(&command_msgq, &command_val, K_NO_WAIT);
			bt_gatt_notify(active_conn,&my_service_svc.attrs[1], &command_val,sizeof(command_val));		//attrs[1] = second attribute in BT_GATT_SERVICE_DEFINE()		
		}
	}
	return msg_count;	
}
void set_command_val(uint64_t *val)
{
	k_msgq_put(&command_msgq, val, K_NO_WAIT);
}
```

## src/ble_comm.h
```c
/* SPDX-License-Identifier: Apache-2.0                              *
 * Copyright (c) 2022 Adrian Przekwas <adrian.v.przekwas@gmail.com> */

#ifndef BLE_COMM_H
#define BLE_COMM_H

#include <zephyr/types.h>

void initialise_ble(void);
void send_enc0_ble_data(void);
void set_enc0_val(int64_t *val);
void send_enc1_ble_data(void);
void set_enc1_val(int64_t *val);
int send_command_ble_data(void);
void set_command_val(uint64_t *val);

#endif
```

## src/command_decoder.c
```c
/* SPDX-License-Identifier: Apache-2.0                              *
 * Copyright (c) 2022 Adrian Przekwas <adrian.v.przekwas@gmail.com> */

#include <zephyr/sys/printk.h>
#include <stdio.h>
#include <string.h>
#include <zephyr/kernel.h>

#include "command_decoder.h"
#include "bldc_driver.h"
#include "ble_comm.h"
#include "encoder_reader.h"
#include "settings.h"

void decode_and_run (uint64_t *command)
{
    /*
    First 3 bytes descibe command type, 4 byte is drive id (0-255), later 4 data value, eg. SPF0wwww (wwww ASCII=>2004318071 DEC)
    */
    char com_str[9];
    uint32_t com_val = 0;
    const uint8_t fwd_dir = 1; //setup of dir pin
    const uint8_t bwd_dir = 0;

    printk("Size %u\n", sizeof(*command));
    sprintf (com_str, "%s", (char*)command);
    printk("Decoding command %s\n", com_str);
    com_val = ((*command) >> 32) & 0xFFFFFFFF; //later 4 bytes are actually first Little Endian, struct (<l) in the Python side
    uint8_t drive_id = 0;
    drive_id = (*command >> 24) & 0xFF; 

    if (strncmp (com_str,"SPF",3) == 0){ //forward revolution
        printk("Speed command SPFx, id = %u, speed value =  %u\n", drive_id, com_val);
        uint16_t speed = com_val & 0xFFFF;
        set_motor_speed_dir(speed, fwd_dir, drive_id);
        set_fg_dir(drive_id, fwd_dir);
    }
    if (strncmp (com_str,"SPB",3) == 0){ //backward revolution
        printk("Speed command SPBx, id = %u, speed value =  %u\n", drive_id, com_val);
        uint16_t speed = com_val & 0xFFFF;
        set_motor_speed_dir(speed, bwd_dir, drive_id);
        set_fg_dir(drive_id, bwd_dir);
    }
    if (strncmp (com_str,"WRG",3) == 0){ //write registry command
        uint8_t req_reg = (com_val >> 16) & 0xFF;
        uint8_t write_val = (com_val >> 24) & 0xFF;
        if (((req_reg <= 0x03) || ((req_reg >= 0x20) && (req_reg <=0x2B)))) // do not try writing to read only registry
        {
            printk("Write registry command WRGx, id = %u, requested register = %#X, write value = %#X\n", drive_id, req_reg, write_val);
            if ((req_reg >= 0x20) && (req_reg <=0x2B))
            {
                conf_reg_write_unlock(drive_id);
            }
            write_reg(req_reg, write_val, drive_id);
        }

    }
    if (strncmp (com_str,"RRG",3) == 0){ //read registry command
        uint8_t req_reg = (com_val >> 24) & 0xFF; //last byte is required register adress
        uint8_t read_val = 0;
        printk("Read registry command RRGx, id = %u, requested register = %#X,\n", drive_id, req_reg);
        read_reg(req_reg, drive_id, &read_val);
        printk("Read registry command RRGx, id = %u, requested register = %#X, read value = %#X\n", drive_id, req_reg, read_val);
        encode_send_reg (req_reg, read_val, drive_id);
    }
    if (strncmp (com_str,"RCF",3) == 0){ //read and copy registers from flash
        printk("Read and copy from flash, id = %u\n", drive_id);
        read_drive_settings(drive_id, true); //true means, registers are not only read but also copied to the drv regs
        read_and_send_all_regs(drive_id); //send info back to PC
    }
    if (strncmp (com_str,"LOA",3) == 0){ //read registers from flash without copying
        printk("Read and copy from flash, id = %u\n", drive_id);
        read_drive_settings(drive_id, false);
        read_and_send_all_regs(drive_id);
    }
    if (strncmp (com_str,"WFL",3) == 0){ //write registers to flash
        printk("Write from flash, id = %u\n", drive_id);
        write_drive_settings(drive_id);
        read_drive_settings(drive_id, false); //send info back to PC
        
    }
    if (strncmp (com_str,"SDV",3) == 0){ //set driver verbosity  command
        uint8_t level = (com_val >> 24) & 0xFF; //last byte is required register adress
        printk("Setting driver UART verbosity, level = %u\n", level);
        set_uart_driver_verbosity(level);
    }
    if (strncmp (com_str,"RAR",3) == 0){ //read and send all registers
        read_and_send_all_regs(0); //read all drv registers
        read_and_send_all_regs(1);
        read_drive_settings(0, false); //read all flash registers without copying to the drv
        read_drive_settings(1, false);
    }
    if (strncmp (com_str,"RDR",3) == 0){ //read and send registers of a single drive
        read_and_send_all_regs(drive_id); //read all drv registers
    }
    if (strncmp (com_str,"RLF",3) == 0){
        reset_motor_lock_flag_and_info(drive_id); //reset lock flag created after status register read, re-read fault register
    }

}

void encode_send_reg(uint8_t reg_addr, uint8_t reg_value, uint8_t drive_id)
 {
    /*Python snipped to generate 3 byte command identifier
    def c(s):
        sr = s[::-1] #reversed
        nchars = len(s)
        x = sum(ord(sr[byte])<<8*(nchars-byte-1) for byte in range(nchars))
        print (s, f"0x{x:X}")

    c('VRG')*/

    /*uint64_t command = 0;
    command = command | 0x56; //V
    command = command | (0x52 << 8); //R
    command = command | (0x47 << 16); //G*/

    //VRG000xy
    uint64_t command = 0x475256;

    command = command | ((uint64_t)drive_id << 24);
    command = command | ((uint64_t)reg_addr << 48);
    command = command | ((uint64_t)reg_value << 56);  
    set_command_val(&command);
 }
 void encode_send_flash_reg(uint8_t reg_addr, uint8_t reg_value, uint8_t drive_id)
 {
    //VRF000xy
    uint64_t command = 0x465256;
    command = command | ((uint64_t)drive_id << 24);
    command = command | ((uint64_t)reg_addr << 48);
    command = command | ((uint64_t)reg_value << 56);  
    set_command_val(&command);
 }
void encode_motor_speed(uint8_t speed1, uint8_t speed2, uint8_t drive_id)
 {
    //MSP000ss
    uint64_t command = 0x50534D;
    command = command | ((uint64_t)drive_id << 24);
    command = command | ((uint64_t)speed2 << 48);
    command = command | ((uint64_t)speed1 << 56);  
    set_command_val(&command);
 }

 void encode_fg_value(int64_t fg_count, uint8_t drive_id)
 {
    uint64_t base_command = 0x46 | (0x47 << 8); //FG
    //FGRxyyyy
    uint32_t firsthalf = (uint32_t)(fg_count >> 32); //https://en.wikipedia.org/wiki/Two's_complement
    uint64_t command = base_command | (0x52 << 16); //FGR
    command = command | ((uint64_t)drive_id << 24);
    command = command | ((uint64_t)firsthalf << 32);
    set_command_val(&command);

    //FGrxyyyy
    uint32_t secondhalf = (uint32_t)(fg_count & 0xFFFFFFFF);
    command = base_command | (0x72 << 16); //FGr
    command = command | ((uint64_t)drive_id << 24);
    command = command | ((uint64_t)secondhalf << 32);
    set_command_val(&command);
 }

void encode_gps_info(uint8_t info_type, char *info)
 {
    int info_size = strlen(info);
	if (info_size > 6) {
		printk("UART GPS message too long, dropping!\n");
		return;
	}
    //Gtssssss
    uint64_t command = 0;
    memcpy(&command, info, info_size);
    command = (uint64_t)(command << 16);
    command = command | 0x47;
    command = command | ((uint64_t)info_type << 8);
    set_command_val(&command);

 }

 
```

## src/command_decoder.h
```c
/* SPDX-License-Identifier: Apache-2.0                              *
 * Copyright (c) 2022 Adrian Przekwas <adrian.v.przekwas@gmail.com> */

#ifndef COMMAND_DECODER_H
#define COMMAND_DECODER_H

#include <zephyr/types.h>

void decode_and_run (uint64_t *command);
void encode_send_reg(uint8_t reg_addr, uint8_t reg_value, uint8_t drive_id);
void encode_send_flash_reg(uint8_t reg_addr, uint8_t reg_value, uint8_t drive_id);
void encode_motor_speed(uint8_t speed1, uint8_t speed2, uint8_t drive_id);
void encode_fg_value(int64_t fg_count, uint8_t drive_id);
void encode_gps_info(uint8_t info_type, char *info);

#endif
```

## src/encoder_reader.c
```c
/* SPDX-License-Identifier: Apache-2.0                              *
 * Copyright (c) 2022 Adrian Przekwas <adrian.v.przekwas@gmail.com> */

#include <zephyr/kernel.h>
#include <zephyr/device.h>
#include <zephyr/devicetree.h>
#include <zephyr/drivers/gpio.h>

#include <zephyr/sys/printk.h>

#include "encoder_reader.h"

#define SLEEP_TIME_MS  100

#define E0P0_NODE    DT_ALIAS(enc0p0)
//#define E0P0_NODE    DT_NODELABEL(enc0p0)

#if DT_NODE_HAS_STATUS(E0P0_NODE, okay)
#define E0P0_GPIO_LABEL  DT_GPIO_LABEL(E0P0_NODE, gpios)
#define E0P0_GPIO_PIN    DT_GPIO_PIN(E0P0_NODE, gpios)
#define E0P0_GPIO_FLAGS  DT_GPIO_FLAGS(E0P0_NODE, gpios)
#else
#error "Unsupported board: enc0p0 devicetree alias is not defined"
#define E0P0_GPIO_LABEL  ""
#define E0P0_GPIO_PIN    0
#define E0P0_GPIO_FLAGS  0
#endif

#define E0P1_NODE    DT_ALIAS(enc0p1)

#if DT_NODE_HAS_STATUS(E0P1_NODE, okay)
#define E0P1_GPIO_LABEL  DT_GPIO_LABEL(E0P1_NODE, gpios)
#define E0P1_GPIO_PIN    DT_GPIO_PIN(E0P1_NODE, gpios)
#define E0P1_GPIO_FLAGS  DT_GPIO_FLAGS(E0P1_NODE, gpios)
#else
#error "Unsupported board: enc0p1 devicetree alias is not defined"
#define E0P1_GPIO_LABEL  ""
#define E0P1_GPIO_PIN    0
#define E0P1_GPIO_FLAGS  0
#endif

#define E1P0_NODE    DT_ALIAS(enc1p0)

#if DT_NODE_HAS_STATUS(E1P0_NODE, okay)
#define E1P0_GPIO_LABEL  DT_GPIO_LABEL(E1P0_NODE, gpios)
#define E1P0_GPIO_PIN    DT_GPIO_PIN(E1P0_NODE, gpios)
#define E1P0_GPIO_FLAGS  DT_GPIO_FLAGS(E1P0_NODE, gpios)
#else
#error "Unsupported board: enc1p0 devicetree alias is not defined"
#define E1P0_GPIO_LABEL  ""
#define E1P0_GPIO_PIN    0
#define E1P0_GPIO_FLAGS  0
#endif

#define E1P1_NODE    DT_ALIAS(enc1p1)

#if DT_NODE_HAS_STATUS(E1P1_NODE, okay)
#define E1P1_GPIO_LABEL  DT_GPIO_LABEL(E1P1_NODE, gpios)
#define E1P1_GPIO_PIN    DT_GPIO_PIN(E1P1_NODE, gpios)
#define E1P1_GPIO_FLAGS  DT_GPIO_FLAGS(E1P1_NODE, gpios)
#else
#error "Unsupported board: enc1p1 devicetree alias is not defined"
#define E1P1_GPIO_LABEL  ""
#define E1P1_GPIO_PIN    0
#define E1P1_GPIO_FLAGS  0
#endif

#define FG0_NODE    DT_ALIAS(fg0p)

#if DT_NODE_HAS_STATUS(FG0_NODE, okay)
#define FG0_GPIO_LABEL  DT_GPIO_LABEL(FG0_NODE, gpios)
#define FG0_GPIO_PIN    DT_GPIO_PIN(FG0_NODE, gpios)
#define FG0_GPIO_FLAGS  DT_GPIO_FLAGS(FG0_NODE, gpios)
#else
#error "Unsupported board: fg0p devicetree alias is not defined"
#define FG0_GPIO_LABEL  ""
#define FG0_GPIO_PIN    0
#define FG0_GPIO_FLAGS  0
#endif

#define FG1_NODE    DT_ALIAS(fg1p)

#if DT_NODE_HAS_STATUS(FG1_NODE, okay)
#define FG1_GPIO_LABEL  DT_GPIO_LABEL(FG1_NODE, gpios)
#define FG1_GPIO_PIN    DT_GPIO_PIN(FG1_NODE, gpios)
#define FG1_GPIO_FLAGS  DT_GPIO_FLAGS(FG1_NODE, gpios)
#else
#error "Unsupported board: fg1p devicetree alias is not defined"
#define FG1_GPIO_LABEL  ""
#define FG1_GPIO_PIN    0
#define FG1_GPIO_FLAGS  0
#endif

static int64_t step_count0 = 0;
static int8_t enc0_add = 1;

static int64_t step_count1 = 0;
static int8_t enc1_add = 1;

static int64_t fg0_count = 0;
static int8_t fg0_dir = 1;

static int64_t fg1_count = 0;
static int8_t fg1_dir = 1;

static void enc0_moved_a(const struct device *dev, struct gpio_callback *cb, uint32_t pins)
{
	step_count0 += enc0_add;
}
static void enc0_moved_b(const struct device *dev, struct gpio_callback *cb, uint32_t pins)
{
	bool b_phase = gpio_pin_get(dev, E0P1_GPIO_PIN); //Read the status of pin
	enc0_add = b_phase ? 1 : -1;
}

static void enc1_moved_a(const struct device *dev, struct gpio_callback *cb, uint32_t pins)
{
	step_count1 += enc1_add;
}
static void enc1_moved_b(const struct device *dev, struct gpio_callback *cb, uint32_t pins)
{
	bool b_phase = gpio_pin_get(dev, E1P1_GPIO_PIN); //Read the status of pin
	enc1_add = b_phase ? 1 : -1;
}


static void fg0_moved(const struct device *dev, struct gpio_callback *cb, uint32_t pins)
{
	fg0_count += fg0_dir; 
}

static void fg1_moved(const struct device *dev, struct gpio_callback *cb, uint32_t pins)
{
	fg1_count += fg1_dir; 
}

/*  Define a variable of type static struct gpio_callback */
static struct gpio_callback enc0_cb_data_a;
static struct gpio_callback enc0_cb_data_b;

static struct gpio_callback enc1_cb_data_a;
static struct gpio_callback enc1_cb_data_b;

static struct gpio_callback fg0_cb_data;

static struct gpio_callback fg1_cb_data;

void initialise_encoder(void)
{
	int ret;

	struct gpio_dt_spec e0p0 = GPIO_DT_SPEC_GET(E0P0_NODE, gpios);

	if(!device_is_ready(e0p0.port)) {
		printk("E0P0 device not ready!\n");
	}

	struct gpio_dt_spec e0p1 = GPIO_DT_SPEC_GET(E0P1_NODE, gpios);

	if(!device_is_ready(e0p1.port)) {
		printk("E0P1 device not ready!\n");
	}

	struct gpio_dt_spec e1p0 = GPIO_DT_SPEC_GET(E1P0_NODE, gpios);

	if(!device_is_ready(e1p0.port)) {
		printk("E1P0 device not ready!\n");
	}

	struct gpio_dt_spec e1p1 = GPIO_DT_SPEC_GET(E1P1_NODE, gpios);

	if(!device_is_ready(e1p1.port)) {
		printk("E1P1 device not ready!\n");
	}

    ret = gpio_pin_configure(e0p0.port, E0P0_GPIO_PIN, GPIO_INPUT | E0P0_GPIO_FLAGS);
    if (ret < 0) {
        return;
    }

    ret = gpio_pin_configure(e0p1.port, E0P1_GPIO_PIN, GPIO_INPUT | E0P1_GPIO_FLAGS);
    if (ret < 0) {
        return;
    }

	ret = gpio_pin_configure(e1p0.port, E1P0_GPIO_PIN, GPIO_INPUT | E1P0_GPIO_FLAGS);
    if (ret < 0) {
        return;
    }

    ret = gpio_pin_configure(e1p1.port, E1P1_GPIO_PIN, GPIO_INPUT | E1P1_GPIO_FLAGS);
    if (ret < 0) {
        return;
    }

	/*  Configure the interrupt on the pin by calling the function gpio_pin_interrupt_configure()  */
	ret = gpio_pin_interrupt_configure(e0p0.port, E0P0_GPIO_PIN, GPIO_INT_EDGE_TO_ACTIVE); 
	if (ret < 0) {
        return;
    }
	ret = gpio_pin_interrupt_configure(e0p1.port, E0P1_GPIO_PIN, GPIO_INT_EDGE_BOTH);
	if (ret < 0) {
        return;
    }

	ret = gpio_pin_interrupt_configure(e1p0.port, E1P0_GPIO_PIN, GPIO_INT_EDGE_TO_ACTIVE); 
	if (ret < 0) {
        return;
    }
	ret = gpio_pin_interrupt_configure(e1p1.port, E1P1_GPIO_PIN, GPIO_INT_EDGE_BOTH);
	if (ret < 0) {
        return;
    }

	/* Initialize the static struct gpio_callback variable   */
	gpio_init_callback(&enc0_cb_data_a, enc0_moved_a, BIT(E0P0_GPIO_PIN));
	gpio_init_callback(&enc0_cb_data_b, enc0_moved_b, BIT(E0P1_GPIO_PIN));

	gpio_init_callback(&enc1_cb_data_a, enc1_moved_a, BIT(E1P0_GPIO_PIN));
	gpio_init_callback(&enc1_cb_data_b, enc1_moved_b, BIT(E1P1_GPIO_PIN)); 
	/* Add the callback function by calling gpio_add_callback()   */
	gpio_add_callback(e0p0.port, &enc0_cb_data_a);
	gpio_add_callback(e0p1.port, &enc0_cb_data_b);

	gpio_add_callback(e1p0.port, &enc1_cb_data_a);
	gpio_add_callback(e1p1.port, &enc1_cb_data_b);


	/*FG pin callback configuration*/
	struct gpio_dt_spec fg0 = GPIO_DT_SPEC_GET(FG0_NODE, gpios);

	if(!device_is_ready(fg0.port)) {
		printk("FG0 device not ready!\n");
	}

    ret = gpio_pin_configure(fg0.port, FG0_GPIO_PIN, GPIO_INPUT | FG0_GPIO_FLAGS);
    if (ret < 0) {
        return;
    }
	ret = gpio_pin_interrupt_configure(fg0.port, FG0_GPIO_PIN, GPIO_INT_EDGE_RISING);
	if (ret < 0) {
        return;
    }
	gpio_init_callback(&fg0_cb_data, fg0_moved, BIT(FG0_GPIO_PIN)); 
	gpio_add_callback(fg0.port, &fg0_cb_data);

	/*second motor*/
	struct gpio_dt_spec fg1 = GPIO_DT_SPEC_GET(FG1_NODE, gpios);

	if(!device_is_ready(fg1.port)) {
		printk("FG1 device not ready!\n");
	}

	ret = gpio_pin_configure(fg1.port, FG1_GPIO_PIN, GPIO_INPUT | FG1_GPIO_FLAGS);
    if (ret < 0) {
        return;
    }
	ret = gpio_pin_interrupt_configure(fg1.port, FG1_GPIO_PIN, GPIO_INT_EDGE_RISING);
	if (ret < 0) {
        return;
    }
	gpio_init_callback(&fg1_cb_data, fg1_moved, BIT(FG1_GPIO_PIN)); 
	gpio_add_callback(fg1.port, &fg1_cb_data);
}

void get_enc0_val(int64_t *steps) 
{
	*steps = step_count0;
}

void get_enc1_val(int64_t *steps) 
{
	*steps = step_count1;
}

void get_fg0_val(int64_t *steps) 
{
	*steps = fg0_count;
}

void get_fg1_val(int64_t *steps) 
{
	*steps = fg1_count;
}

void set_fg_dir(uint8_t fg_id, uint8_t dir)
{
	if (fg_id == 0){
		if (dir > 0){
			fg0_dir = 1;
		}
		else {
			fg0_dir = -1;
		}
	}
	if (fg_id == 1){
		if (dir > 0){
			fg1_dir = 1;
		}
		else {
			fg1_dir = -1;
		}
	}
}
```

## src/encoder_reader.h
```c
/* SPDX-License-Identifier: Apache-2.0                              *
 * Copyright (c) 2022 Adrian Przekwas <adrian.v.przekwas@gmail.com> */

#ifndef ENCODER_READER_H
#define ENCODER_READER_H

#include <zephyr/types.h>

void initialise_encoder(void);
void get_enc0_val(int64_t *steps);
void get_enc1_val(int64_t *steps);
void get_fg0_val(int64_t *steps);
void get_fg1_val(int64_t *steps);
void set_fg_dir(uint8_t fg_id, uint8_t dir);

#endif
```

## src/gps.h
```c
/* SPDX-License-Identifier: Apache-2.0                              *
 * Copyright (c) 2022 Adrian Przekwas <adrian.v.przekwas@gmail.com> */

#ifndef GPS_H
#define GPS_H

#include <zephyr/types.h>

void initialise_gps(void);
void decode_message(const char *message);
void extract_field(const char *message, const uint8_t field_idx, char *field);
void send_date_time(void);
void send_position(void);

#endif
```

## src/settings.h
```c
/* SPDX-License-Identifier: Apache-2.0                              *
 * Copyright (c) 2022 Adrian Przekwas <adrian.v.przekwas@gmail.com> */

#ifndef SETTINGS_H
#define SETTINGS_H

void initialise_settings(void);
void read_drive_settings(uint8_t drive_id, bool copy_to_drv);
void write_drive_settings(uint8_t drive_id);

#endif
```
